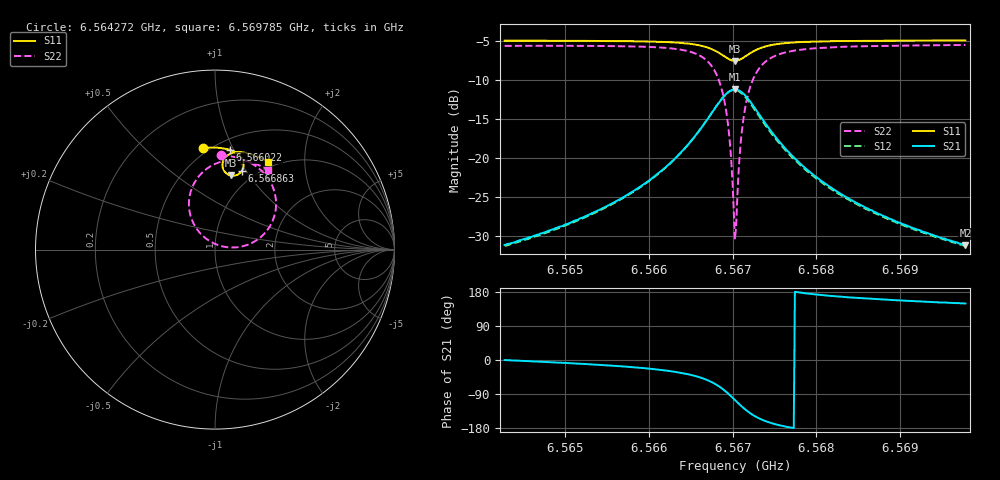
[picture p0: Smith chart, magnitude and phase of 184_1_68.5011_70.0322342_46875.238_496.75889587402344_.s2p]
#  HZ  S  RI  R  50.00
! Rohde & Schwarz Vector Network Analyzer
! Rohde-Schwarz,ZNB20-2Port,1311601062101988,3.16
! Created: UTC 3/20/2024, 4:56:49 PM
! freq[Hz]  re:S11  im:S11  re:S21  im:S21  re:S12  im:S12  re:S22  im:S22
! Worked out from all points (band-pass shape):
!   401 points, 6.564272 GHz to 6.569785 GHz, reference 50 ohm
!   highest |S21| = -11.17 dB at 6.567028 GHz (marker M1); lowest = -31.2 dB at 6.569785 GHz (marker M2)
!   |S21| within 3 dB of the highest: 6.566752 GHz to 6.567304 GHz (552 kHz wide, 0.00841 % of centre)
!   lowest |S11| = -7.5 dB at 6.567028 GHz (marker M3), VSWR 2.46, Z = 41 + j41.2 ohm
!   |S11| at or under -10 dB: nowhere
!   |S22| runs from -30.4 to -5.5 dB; largest |S21 - S12| = 0.013
!   S11 on the Smith chart (normalised r, x): 6.564272 GHz: 0.46, +0.77; 6.566022 GHz: 0.59, +0.97; 6.566863 GHz: 0.86, +0.96; 6.569785 GHz: 0.92, +1.33
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6.5642721e9  -0.069 0.565  0.0277 -6.31e-05  0.0272 -0.000697  0.0313 0.5261
6.5651955e9  0.00631 0.568  0.0406 -0.00723  0.0399 -0.00773  0.1183 0.5135
6.5660224e9  0.0828 0.5559  0.0673 -0.029  0.0663 -0.0299  0.2237 0.4677
6.5661188e9  0.093 0.5525  0.0725 -0.0347  0.0715 -0.0356  0.2399 0.4558
6.566422e9  0.1276 0.5335  0.0933 -0.0668  0.0919 -0.0681  0.2988 0.3928
6.5666425e9  0.1529 0.5025  0.1073 -0.1205  0.1046 -0.1228  0.3378 0.2889
6.5667666e9  0.1597 0.4717  0.0998 -0.1744  0.0952 -0.1778  0.33 0.1857
6.5668631e9  0.151 0.4407  0.067 -0.2277  0.0596 -0.2307  0.272 0.086
6.5669457e9  0.1258 0.4176  0.00711 -0.2648  -0.00373 -0.2649  0.1618 0.0204
6.5669733e9  0.1139 0.4133  -0.0192 -0.2706  -0.0307 -0.2688  0.1142 0.0121
6.5670146e9  0.0941 0.412  -0.061 -0.2692  -0.0727 -0.2645  0.0396 0.0184
6.5670284e9  0.0876 0.4131  -0.075 -0.266  -0.0863 -0.2603  0.0155 0.0258
6.5670422e9  0.0812 0.4151  -0.0886 -0.2615  -0.0997 -0.2546  -0.00778 0.0355
6.567056e9  0.075 0.4174  -0.1015 -0.2557  -0.112 -0.2478  -0.0297 0.0474
6.5670973e9  0.0591 0.4287  -0.1352 -0.2317  -0.1432 -0.2216  -0.0851 0.094
6.5671387e9  0.0482 0.4437  -0.1592 -0.2015  -0.1646 -0.1903  -0.1219 0.1502
6.5671938e9  0.0418 0.4649  -0.1759 -0.159  -0.1778 -0.1483  -0.1437 0.2263
6.5672627e9  0.044 0.4888  -0.1784 -0.1125  -0.1774 -0.1031  -0.1393 0.3075
6.5675108e9  0.0824 0.5328  -0.1351 -0.0248  -0.132 -0.021  -0.0412 0.4537
6.5679518e9  0.1428 0.5429  -0.0789 0.00844  -0.0769 0.00956  0.0879 0.4993
6.5688752e9  0.2281 0.5218  -0.038 0.0148  -0.0373 0.0151  0.218 0.4808
6.5697848e9  0.295 0.489  -0.0236 0.0141  -0.0231 0.0143  0.2968 0.4437
